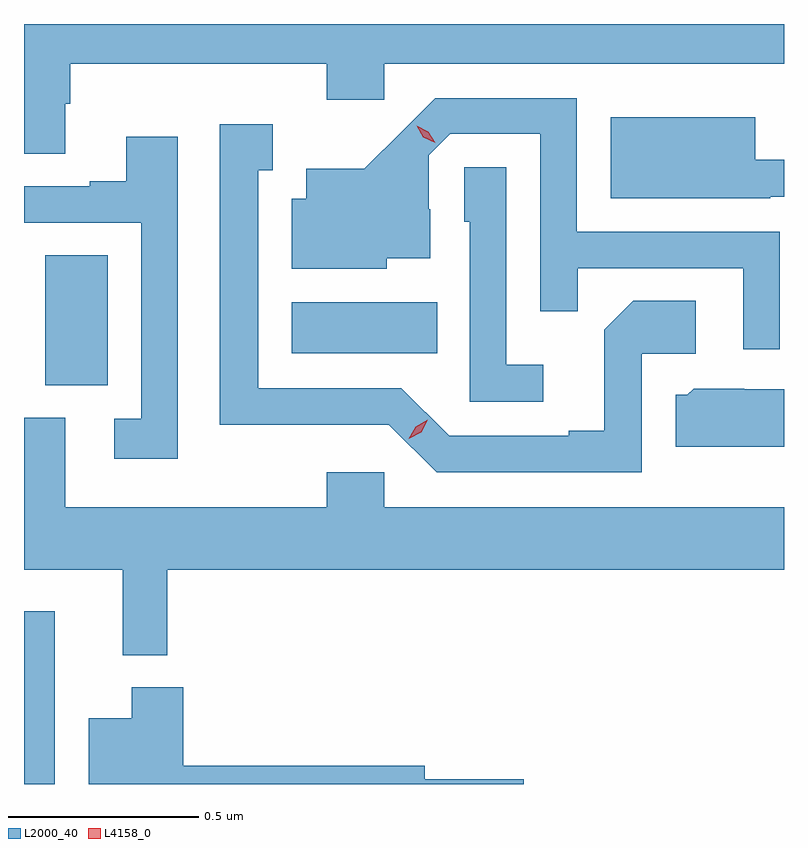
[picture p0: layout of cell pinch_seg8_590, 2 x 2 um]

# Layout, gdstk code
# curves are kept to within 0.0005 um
import gdstk
lib = gdstk.Library(unit=1e-6, precision=1e-09)
def R(c, l, rs):  # rectangles x0, y0, x1, y1
    for r in rs: c.add(gdstk.rectangle(r[:2], r[2:], *l))
def P(c, l, *ps):  # polygons
    for p in ps: c.add(gdstk.Polygon(p, *l))
L2000_40 = (2000, 40)
L4158_0 = (4158, 0)

pinch_seg8_590 = lib.new_cell('pinch_seg8_590')
R(pinch_seg8_590, L2000_40, [(171.744,1093.292,171.825,1093.747), (171.8,1094.341,171.964,1094.684), (172.448,1094.426,172.832,1094.56)])
P(pinch_seg8_590, L2000_40, [(171.853,1095.082),(171.866,1095.082),(171.866,1095.188),(172.541,1095.188),(172.541,1095.093),(172.692,1095.093),(172.692,1095.188),(173.744,1095.188),(173.744,1095.292),(171.744,1095.292),(171.744,1094.95),(171.853,1094.95)],
  [(173.733,1094.745),(173.199,1094.745),(173.199,1095.096),(172.826,1095.096),(172.639,1094.911),(172.487,1094.911),(172.487,1094.832),(172.448,1094.832),(172.448,1094.648),(172.698,1094.648),(172.698,1094.675),(172.813,1094.675),(172.813,1094.804),(172.809,1094.804),(172.809,1094.946),(172.866,1095.003),(173.103,1095.003),(173.103,1094.536),(173.201,1094.536),(173.201,1094.649),(173.637,1094.649),(173.637,1094.436),(173.733,1094.436)],
  [(173.708,1094.838),(173.744,1094.838),(173.744,1094.935),(173.668,1094.935),(173.668,1095.046),(173.288,1095.046),(173.288,1094.834),(173.708,1094.834)],
  [(173.37,1094.424),(173.512,1094.424),(173.512,1094.564),(173.347,1094.564),(173.271,1094.488),(173.271,1094.221),(173.177,1094.221),(173.177,1094.208),(172.863,1094.208),(172.737,1094.334),(172.36,1094.334),(172.36,1094.907),(172.399,1094.907),(172.399,1095.028),(172.259,1095.028),(172.259,1094.237),(172.482,1094.237),(172.482,1094.238),(172.704,1094.238),(172.83,1094.112),(173.37,1094.112)],
  [(172.149,1094.995),(172.013,1094.995),(172.013,1094.878),(171.917,1094.878),(171.917,1094.865),(171.744,1094.865),(171.744,1094.769),(172.053,1094.769),(172.053,1094.253),(171.981,1094.253),(171.981,1094.148),(172.149,1094.148)],
  [(173.11,1094.395),(173.013,1094.395),(173.013,1094.915),(172.902,1094.915),(172.902,1094.772),(172.917,1094.772),(172.917,1094.298),(173.11,1094.298)],
  [(173.744,1094.331),(173.64,1094.331),(173.64,1094.332),(173.506,1094.332),(173.49,1094.316),(173.459,1094.316),(173.459,1094.18),(173.744,1094.18)],
  [(172.121,1093.856),(173.744,1093.856),(173.744,1094.02),(172.692,1094.02),(172.692,1094.113),(172.541,1094.113),(172.541,1094.02),(171.853,1094.02),(171.853,1094.256),(171.744,1094.256),(171.744,1093.856),(172.004,1093.856),(172.004,1093.631),(172.121,1093.631)],
  [(173.059,1093.304),(172.798,1093.304),(172.798,1093.34),(172.163,1093.34),(172.163,1093.546),(172.028,1093.546),(172.028,1093.465),(171.914,1093.465),(171.914,1093.292),(173.059,1093.292)])
P(pinch_seg8_590, L4158_0, [(172.826,1094.98),(172.795,1094.994),(172.777,1095.024),(172.777,1095.024),(172.778,1095.024),(172.808,1095.009),(172.826,1094.98),(172.826,1094.98)],
  [(172.757,1094.2),(172.757,1094.2),(172.775,1094.232),(172.806,1094.251),(172.807,1094.251),(172.807,1094.25),(172.789,1094.218),(172.757,1094.2)])

lib.write_gds('pinch_seg8_590.gds')
